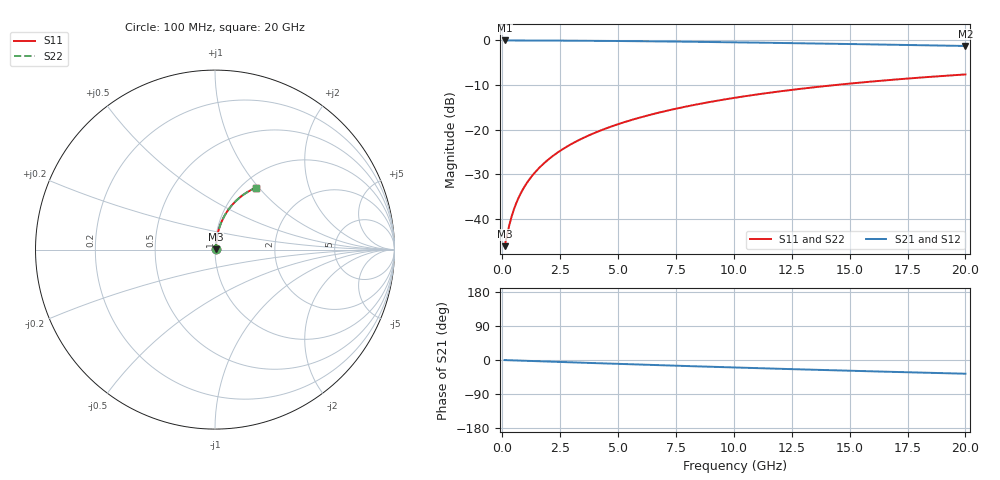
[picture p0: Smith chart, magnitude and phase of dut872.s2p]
! Touchstone file exported from HFSS 2024.1.0
!  File:  C:/UserFiles/LocalFiles/RDL_TSV_Batchsim/temp_RDL_bottom_872_1779865066.aedt
!  Generated:  03:00:46 PM May 27, 2026
!  Design:  RDL_bottom
!  Project:  temp_RDL_bottom_872_1779865066
!  Setup:  Setup1
!  Solution:  Sweep
! Variables:
!  dtsv = 10.80580581um
!  hbump = 3um
!  htsv = 87.6um
!  ldown = 455.72um
!  lrdl = 100um
!  p = 40
!  p1 = 45.75um
!  rhole = 1um
!  t = 450um
!  tdown = 2.97um
!  trdl = 3.915915916um
!  wdown = 12.96um
!  wrdl = 20um
# GHz S MA R 50.000000
! Terminal data exported
! Port[1] = RDL1_T1
! Port[2] = RDL1_T2
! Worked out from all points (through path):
!   200 points, 100 MHz to 20 GHz, reference 50 ohm
!   highest |S21| = -0.04 dB at 100 MHz (marker M1); lowest = -1.3 dB at 20 GHz (marker M2)
!   group delay of S21, straight-line fit = 5.03 ps
!   lowest |S11| = -46.1 dB at 100 MHz (marker M3), VSWR 1.01, Z = 50.4 + j0.242 ohm
!   |S11| at or under -10 dB: start of sweep to 14.42 GHz
!   |S22| runs from -46.1 to -7.7 dB; largest |S21 - S12| = 3.1e-15
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0.1  0.004939 29.1  0.9957 -0.2  0.9957 -0.2  0.004939 29.1
! Gamma 0 0 0 0
! Port Impedance 50 0 50 0
0.3  0.008444 57.9  0.9955 -0.6  0.9955 -0.6  0.008444 57.9
0.4  0.01055 64.1  0.9954 -0.9  0.9954 -0.9  0.01055 64.1
0.5  0.01273 68.1  0.9953 -1.1  0.9953 -1.1  0.01273 68.1
0.6  0.01493 70.9  0.9951 -1.3  0.9951 -1.3  0.01493 70.9
0.7  0.01715 72.9  0.995 -1.5  0.995 -1.5  0.01715 72.9
0.9  0.02161 75.7  0.9947 -1.9  0.9947 -1.9  0.02161 75.7
1.2  0.02834 78.1  0.9943 -2.5  0.9943 -2.5  0.02834 78.1
1.4  0.03284 79.1  0.9939 -2.9  0.9939 -2.9  0.03284 79.1
1.7  0.03963 80.0  0.9934 -3.5  0.9934 -3.5  0.03963 80.0
2.2  0.05098 80.8  0.9922 -4.6  0.9922 -4.6  0.05098 80.8
2.8  0.06466 81.0  0.9906 -5.8  0.9906 -5.8  0.06465 81.0
3.5  0.08063 80.8  0.9882 -7.2  0.9882 -7.2  0.08063 80.8
4.2  0.09661 80.2  0.9854 -8.6  0.9854 -8.6  0.09661 80.2
5  0.1148 79.4  0.9817 -10.2  0.9817 -10.2  0.1148 79.4
5.9  0.1353 78.3  0.9769 -12.0  0.9769 -12.0  0.1353 78.3
6.8  0.1556 77.0  0.9717 -13.7  0.9717 -13.7  0.1556 77.0
8.3  0.189 74.8  0.9618 -16.6  0.9618 -16.6  0.189 74.8
10.1  0.2282 71.9  0.9487 -19.9  0.9487 -19.9  0.2282 71.9
13.4  0.2963 66.6  0.922 -25.7  0.922 -25.7  0.2963 66.6
16.7  0.3586 61.4  0.8932 -31.1  0.8932 -31.1  0.3585 61.4
20  0.4143 56.5  0.8636 -36.2  0.8636 -36.2  0.4143 56.5
